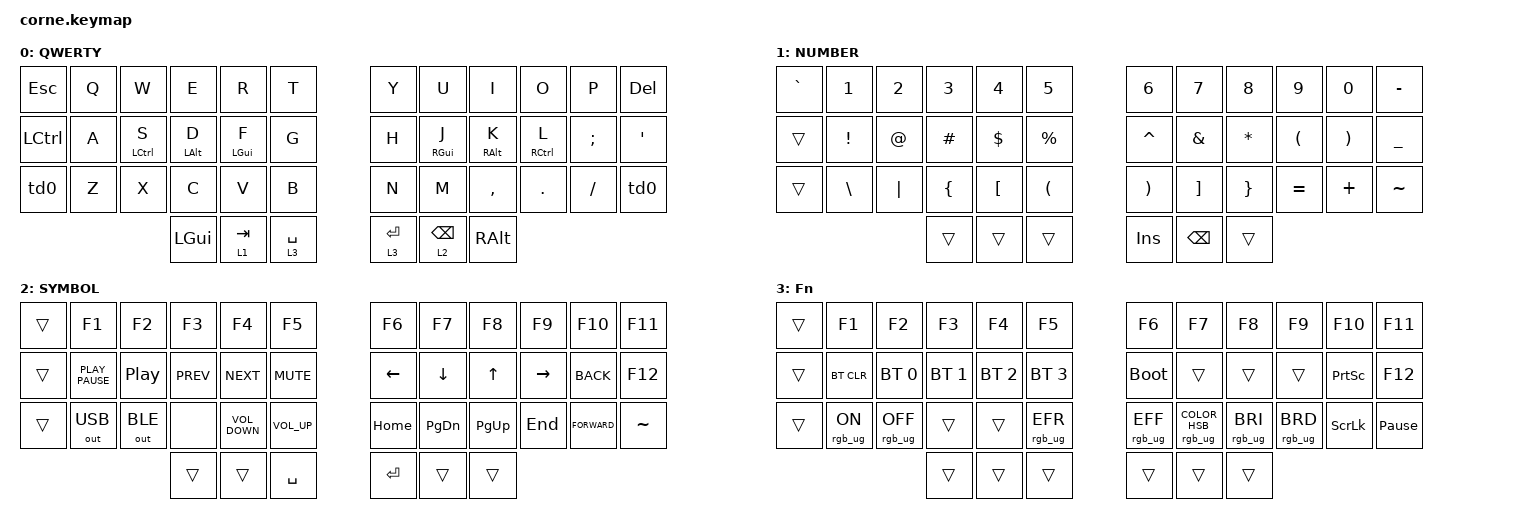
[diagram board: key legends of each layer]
/*
 * Copyright (c) 2020 The ZMK Contributors
 *
 * SPDX-License-Identifier: MIT
 */

#include <behaviors.dtsi>
#include <dt-bindings/zmk/bt.h>
#include <dt-bindings/zmk/keys.h>
#include <dt-bindings/zmk/outputs.h>
#include <dt-bindings/zmk/rgb.h>

/ {
    chosen {
        zmk,matrix_transform = &default_transform;

        // zmk,matrix_transform = &five_column_transform;
    };
};

/ {
    behaviors {
        td0: td0 {
            compatible = "zmk,behavior-tap-dance";
            label = "TD0";
            #binding-cells = <0>;
            bindings = <&kp LEFT_SHIFT>, <&kp CAPS>;
        };

        hrm_left: hrm_left {
            compatible = "zmk,behavior-hold-tap";
            label = "HRM_LEFT";
            bindings = <&kp>, <&kp>;

            #binding-cells = <2>;
            tapping-term-ms = <280>;
            flavor = "balanced";
            hold-trigger-key-positions = <6 18 30 19 31 8 20 32 7 9 21 33 10 22 34 11 23 35 39 40 41>;
            quick-tap-ms = <175>;
            require-prior-idle-ms = <150>;
            hold-trigger-on-release;
        };

        hrm_right: hrm_right {
            compatible = "zmk,behavior-hold-tap";
            label = "HRM_RIGHT";
            bindings = <&kp>, <&kp>;

            #binding-cells = <2>;
            tapping-term-ms = <280>;
            flavor = "balanced";
            hold-trigger-key-positions = <0 1 13 25 12 24 26 14 3 15 2 27 16 4 5 17 29 28 38 37 36>;
            quick-tap-ms = <175>;
            require-prior-idle-ms = <150>;
            hold-trigger-on-release;
        };
    };

    keymap {
        compatible = "zmk,keymap";

        default_layer {
            display-name = "QWERTY";

            // --------------------------------------------------------------------------------
            // |  TAB |  Q  |  W  |  E  |  R  |  T  |   |  Y  |  U   |  I  |  O  |  P  | BKSP |
            // | CTRL |  A  |  S  |  D  |  F  |  G  |   |  H  |  J   |  K  |  L  |  ;  |  '   | 
            // | SHFT |  Z  |  X  |  C  |  V  |  B  |   |  N  |  M   |  ,  |  .  |  /  | ESC  |
            //                    | GUI | LWR | SPC |   | ENT | RSE  | ALT |

            bindings = <
&kp ESCAPE  &kp Q  &kp W              &kp E                 &kp R                 &kp T          &kp Y        &kp U                   &kp I                   &kp O                       &kp P     &kp DEL
&kp LCTRL   &kp A  &hrm_left LCTRL S  &hrm_left LEFT_ALT D  &hrm_left LEFT_GUI F  &kp G          &kp H        &hrm_right RIGHT_GUI J  &hrm_right RIGHT_ALT K  &hrm_right RIGHT_CONTROL L  &kp SEMI  &kp SQT
&td0        &kp Z  &kp X              &kp C                 &kp V                 &kp B          &kp N        &kp M                   &kp COMMA               &kp DOT                     &kp FSLH  &td0
                                      &kp LGUI              &lt 1 TAB             &lt 3 SPACE    &lt 3 ENTER  &lt 2 BACKSPACE         &kp RALT
            >;
        };

        lower_layer {
            display-name = "NUMBER";

            // -----------------------------------------------------------------------------------------
            // |  TAB |  1  |  2  |  3  |  4  |  5  |   |  6  |  7  |  8  |  9  |  0  | BKSP |
            // | BTCLR| BT1 | BT2 | BT3 | BT4 | BT5 |   | LFT | DWN |  UP | RGT |     |      |
            // | SHFT |     |     |     |     |     |   |     |     |     |     |     |      |
            //                    | GUI |     | SPC |   | ENT |     | ALT |

            bindings = <
&kp GRAVE  &kp N1           &kp N2       &kp N3          &kp N4            &kp N5                  &kp N6                 &kp N7             &kp N8           &kp N9                &kp N0                 &kp MINUS
&trans     &kp EXCLAMATION  &kp AT_SIGN  &kp HASH        &kp DOLLAR        &kp PERCENT             &kp CARET              &kp AMPERSAND      &kp ASTERISK     &kp LEFT_PARENTHESIS  &kp RIGHT_PARENTHESIS  &kp UNDERSCORE
&trans     &kp BACKSLASH    &kp PIPE     &kp LEFT_BRACE  &kp LEFT_BRACKET  &kp LEFT_PARENTHESIS    &kp RIGHT_PARENTHESIS  &kp RIGHT_BRACKET  &kp RIGHT_BRACE  &kp EQUAL             &kp PLUS               &kp TILDE
                                         &trans          &trans            &trans                  &kp INS                &kp BACKSPACE      &trans
            >;
        };

        raise_layer {
            display-name = "SYMBOL";

            // -----------------------------------------------------------------------------------------
            // |  TAB |  !  |  @  |  #  |  $  |  %  |   |  ^  |  &  |  *  |  (  |  )  | BKSP |
            // | CTRL |     |     |     |     |     |   |  -  |  =  |  [  |  ]  |  \  |  `   |
            // | SHFT |     |     |     |     |     |   |  _  |  +  |  {  |  }  | "|" |  ~   |
            //                    | GUI |     | SPC |   | ENT |     | ALT |

            bindings = <
&trans  &kp F1            &kp F2            &kp F3      &kp F4             &kp F5             &kp F6    &kp F7          &kp F8        &kp F9           &kp F10        &kp F11
&trans  &kp K_PLAY_PAUSE  &kp C_PLAY_PAUSE  &kp C_PREV  &kp C_NEXT         &kp C_MUTE         &kp LEFT  &kp DOWN_ARROW  &kp UP_ARROW  &kp RIGHT_ARROW  &kp K_BACK     &kp F12
&trans  &out OUT_USB      &out OUT_BLE      &none       &kp C_VOLUME_DOWN  &kp C_VOLUME_UP    &kp HOME  &kp PAGE_DOWN   &kp PG_UP     &kp END          &kp K_FORWARD  &kp TILDE
                                            &trans      &trans             &kp SPACE          &kp RET   &trans          &trans
            >;
        };

        layer_3 {
            display-name = "Fn";
            bindings = <
&trans  &kp F1          &kp F2           &kp F3        &kp F4        &kp F5             &kp F6           &kp F7                            &kp F8           &kp F9           &kp F10          &kp F11
&trans  &bt BT_CLR      &bt BT_SEL 0     &bt BT_SEL 1  &bt BT_SEL 2  &bt BT_SEL 3       &bootloader      &trans                            &trans           &trans           &kp PRINTSCREEN  &kp F12
&trans  &rgb_ug RGB_ON  &rgb_ug RGB_OFF  &trans        &trans        &rgb_ug RGB_EFR    &rgb_ug RGB_EFF  &rgb_ug RGB_COLOR_HSB(170,98,47)  &rgb_ug RGB_BRI  &rgb_ug RGB_BRD  &kp SCROLLLOCK   &kp PAUSE_BREAK
                                         &trans        &trans        &trans             &trans           &trans                            &trans
            >;
        };
    };
};
